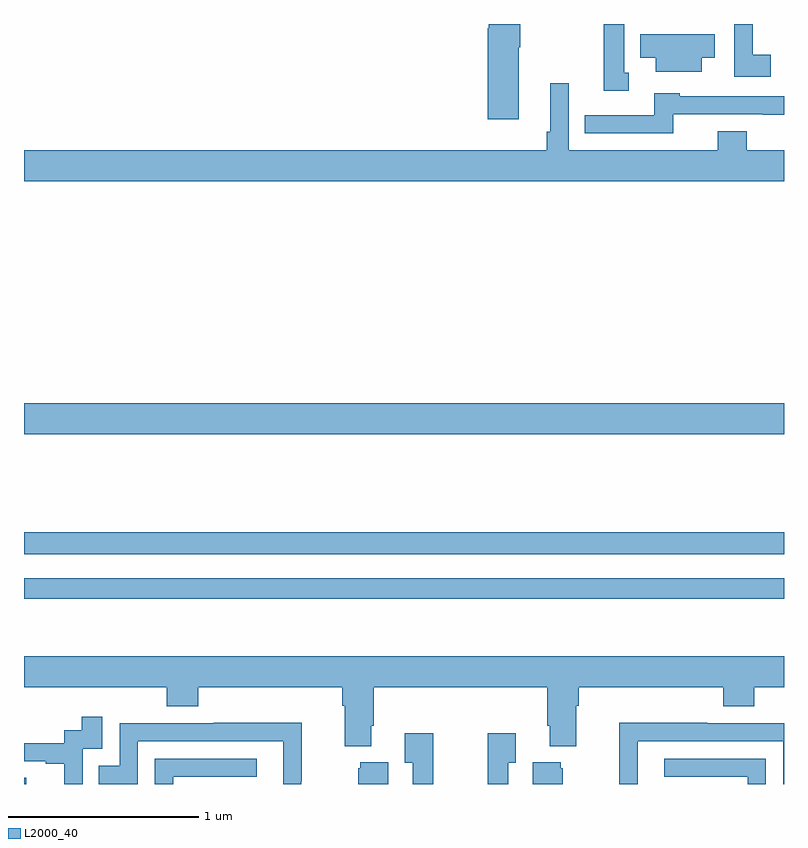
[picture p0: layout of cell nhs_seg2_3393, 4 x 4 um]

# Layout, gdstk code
import gdstk
lib = gdstk.Library(unit=1e-6, precision=1e-09)
def R(c, l, rs):  # rectangles x0, y0, x1, y1
    for r in rs: c.add(gdstk.rectangle(r[:2], r[2:], *l))
def P(c, l, *ps):  # polygons
    for p in ps: c.add(gdstk.Polygon(p, *l))
L2000_40 = (2000, 40)

nhs_seg2_3393 = lib.new_cell('nhs_seg2_3393')
R(nhs_seg2_3393, L2000_40, [(289,641.8,289.012,641.833), (289,642.774,293,642.882), (289,643.008,293,643.124), (289,643.64,293,643.804)])
P(nhs_seg2_3393, L2000_40, [(292.183,645.543),(292.158,645.543),(292.158,645.8),(292.05,645.8),(292.05,645.449),(292.183,645.449)],
  [(292.93,645.638),(292.836,645.638),(292.836,645.8),(292.737,645.8),(292.737,645.522),(292.93,645.522)],
  [(291.604,645.677),(291.612,645.677),(291.612,645.8),(291.446,645.8),(291.446,645.777),(291.44,645.777),(291.44,645.3),(291.604,645.3)],
  [(292.567,645.623),(292.636,645.623),(292.636,645.745),(292.243,645.745),(292.243,645.623),(292.325,645.623),(292.325,645.548),(292.567,645.548)],
  [(293,645.136),(292.805,645.136),(292.805,645.235),(292.652,645.235),(292.652,645.136),(291.867,645.136),(291.867,645.487),(291.77,645.487),(291.77,645.232),(291.751,645.232),(291.751,645.136),(289,645.136),(289,644.972),(293,644.972)],
  [(292.416,645.324),(292.888,645.324),(292.888,645.323),(293,645.323),(293,645.42),(292.452,645.42),(292.452,645.436),(292.316,645.436),(292.316,645.321),(291.952,645.321),(291.952,645.225),(292.416,645.225)],
  [(289,642.308),(289.751,642.308),(289.751,642.209),(289.916,642.209),(289.916,642.308),(290.675,642.308),(290.675,642.212),(290.687,642.212),(290.687,641.999),(290.827,641.999),(290.827,642.106),(290.84,642.106),(290.84,642.308),(291.755,642.308),(291.755,642.106),(291.767,642.106),(291.767,641.999),(291.907,641.999),(291.907,642.212),(291.92,642.212),(291.92,642.308),(292.679,642.308),(292.679,642.209),(292.844,642.209),(292.844,642.308),(293,642.308),(293,642.472),(289,642.472)],
  [(289.308,641.985),(289.413,641.985),(289.413,642.154),(289.305,642.154),(289.305,642.084),(289.212,642.084),(289.212,642.015),(289,642.015),(289,641.919),(289.115,641.919),(289.115,641.907),(289.211,641.907),(289.211,641.8),(289.308,641.8)],
  [(289.599,642.024),(290.364,642.024),(290.364,641.8),(290.46,641.8),(290.46,641.815),(290.463,641.815),(290.463,642.122),(289.999,642.122),(289.999,642.12),(289.503,642.12),(289.503,641.895),(289.393,641.895),(289.393,641.8),(289.599,641.8)],
  [(292.23,642.024),(292.995,642.024),(292.995,641.8),(293,641.8),(293,642.12),(292.595,642.12),(292.595,642.122),(292.132,642.122),(292.132,641.815),(292.134,641.815),(292.134,641.8),(292.23,641.8)],
  [(291.154,642.067),(291.005,642.067),(291.005,641.911),(291.045,641.911),(291.045,641.8),(291.154,641.8)],
  [(291.549,641.911),(291.589,641.911),(291.589,642.067),(291.441,642.067),(291.441,641.8),(291.549,641.8)],
  [(292.905,641.934),(292.371,641.934),(292.371,641.838),(292.809,641.838),(292.809,641.8),(292.905,641.8)],
  [(289.785,641.838),(290.224,641.838),(290.224,641.934),(289.689,641.934),(289.689,641.8),(289.785,641.8)],
  [(291.835,641.883),(291.824,641.883),(291.824,641.914),(291.677,641.914),(291.677,641.8),(291.835,641.8)],
  [(290.917,641.914),(290.771,641.914),(290.771,641.883),(290.759,641.883),(290.759,641.8),(290.917,641.8)])

lib.write_gds('nhs_seg2_3393.gds')
